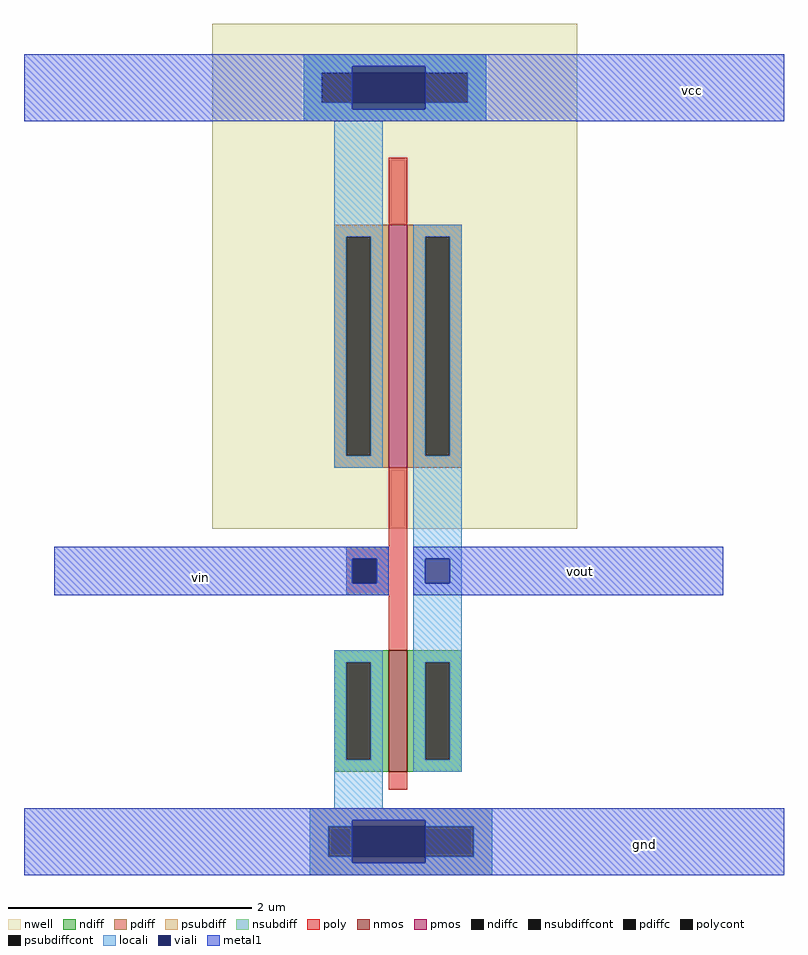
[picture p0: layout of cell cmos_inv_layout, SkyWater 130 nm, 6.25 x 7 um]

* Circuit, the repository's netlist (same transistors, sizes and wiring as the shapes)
* SPICE3 file created from cmos_inv_layout.ext - technology: sky130A

X0 vout vin gnd gnd sky130_fd_pr__nfet_01v8 ad=0.45 pd=2.9 as=0.45 ps=2.9 w=1 l=0.15
X1 vout vin vcc vcc sky130_fd_pr__pfet_01v8 ad=0.9 pd=4.9 as=0.9 ps=4.9 w=2 l=0.15
* C0 vcc gnd 2.06755f **FLOATING

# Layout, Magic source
magic
tech sky130A
<< nwell >>
rect -300 0 0 415
<< nmos >>
rect -155 -200 -140 -100
<< pmos >>
rect -155 50 -140 250
<< ndiff >>
rect -200 -110 -155 -100
rect -200 -190 -190 -110
rect -170 -190 -155 -110
rect -200 -200 -155 -190
rect -140 -110 -95 -100
rect -140 -190 -125 -110
rect -105 -190 -95 -110
rect -140 -200 -95 -190
<< pdiff >>
rect -200 240 -155 250
rect -200 60 -190 240
rect -170 60 -155 240
rect -200 50 -155 60
rect -140 240 -95 250
rect -140 60 -125 240
rect -105 60 -95 240
rect -140 50 -95 60
<< ndiffc >>
rect -190 -190 -170 -110
rect -125 -190 -105 -110
<< pdiffc >>
rect -190 60 -170 240
rect -125 60 -105 240
<< psubdiff >>
rect -220 -245 -70 -230
rect -220 -270 -205 -245
rect -85 -270 -70 -245
rect -220 -285 -70 -270
<< nsubdiff >>
rect -225 375 -75 390
rect -225 350 -210 375
rect -90 350 -75 375
rect -225 335 -75 350
<< psubdiffcont >>
rect -205 -270 -85 -245
<< nsubdiffcont >>
rect -210 350 -90 375
<< poly >>
rect -155 250 -140 305
rect -155 -15 -140 50
rect -190 -25 -140 -15
rect -190 -45 -185 -25
rect -165 -45 -140 -25
rect -190 -55 -140 -45
rect -155 -100 -140 -55
rect -155 -215 -140 -200
<< polycont >>
rect -185 -45 -165 -25
<< locali >>
rect -225 380 -75 390
rect -225 375 -185 380
rect -125 375 -75 380
rect -225 350 -210 375
rect -90 350 -75 375
rect -225 345 -185 350
rect -125 345 -75 350
rect -225 335 -75 345
rect -200 240 -160 335
rect -200 60 -190 240
rect -170 60 -160 240
rect -200 50 -160 60
rect -135 240 -95 250
rect -135 60 -125 240
rect -105 60 -95 240
rect -190 -25 -155 -15
rect -190 -45 -185 -25
rect -165 -45 -155 -25
rect -190 -55 -155 -45
rect -135 -25 -95 60
rect -135 -45 -125 -25
rect -105 -45 -95 -25
rect -200 -110 -160 -100
rect -200 -190 -190 -110
rect -170 -190 -160 -110
rect -200 -230 -160 -190
rect -135 -110 -95 -45
rect -135 -190 -125 -110
rect -105 -190 -95 -110
rect -135 -200 -95 -190
rect -220 -240 -70 -230
rect -220 -245 -185 -240
rect -125 -245 -70 -240
rect -220 -270 -205 -245
rect -85 -270 -70 -245
rect -220 -275 -185 -270
rect -125 -275 -70 -270
rect -220 -285 -70 -275
<< viali >>
rect -185 375 -125 380
rect -185 350 -125 375
rect -185 345 -125 350
rect -185 -45 -165 -25
rect -125 -45 -105 -25
rect -185 -245 -125 -240
rect -185 -270 -125 -245
rect -185 -275 -125 -270
<< metal1 >>
rect -455 380 170 390
rect -455 345 -185 380
rect -125 345 170 380
rect -455 335 170 345
rect -430 -25 -155 -15
rect -430 -45 -185 -25
rect -165 -45 -155 -25
rect -430 -55 -155 -45
rect -135 -25 120 -15
rect -135 -45 -125 -25
rect -105 -45 120 -25
rect -135 -55 120 -45
rect -455 -240 170 -230
rect -455 -275 -185 -240
rect -125 -275 170 -240
rect -455 -285 170 -275
<< labels >>
rlabel metal1 95 360 95 360 1 vcc
rlabel metal1 55 -260 55 -260 1 gnd
rlabel metal1 -115 -55 120 -15 1 vout
rlabel metal1 -310 -40 -310 -40 1 vin
<< end >>
